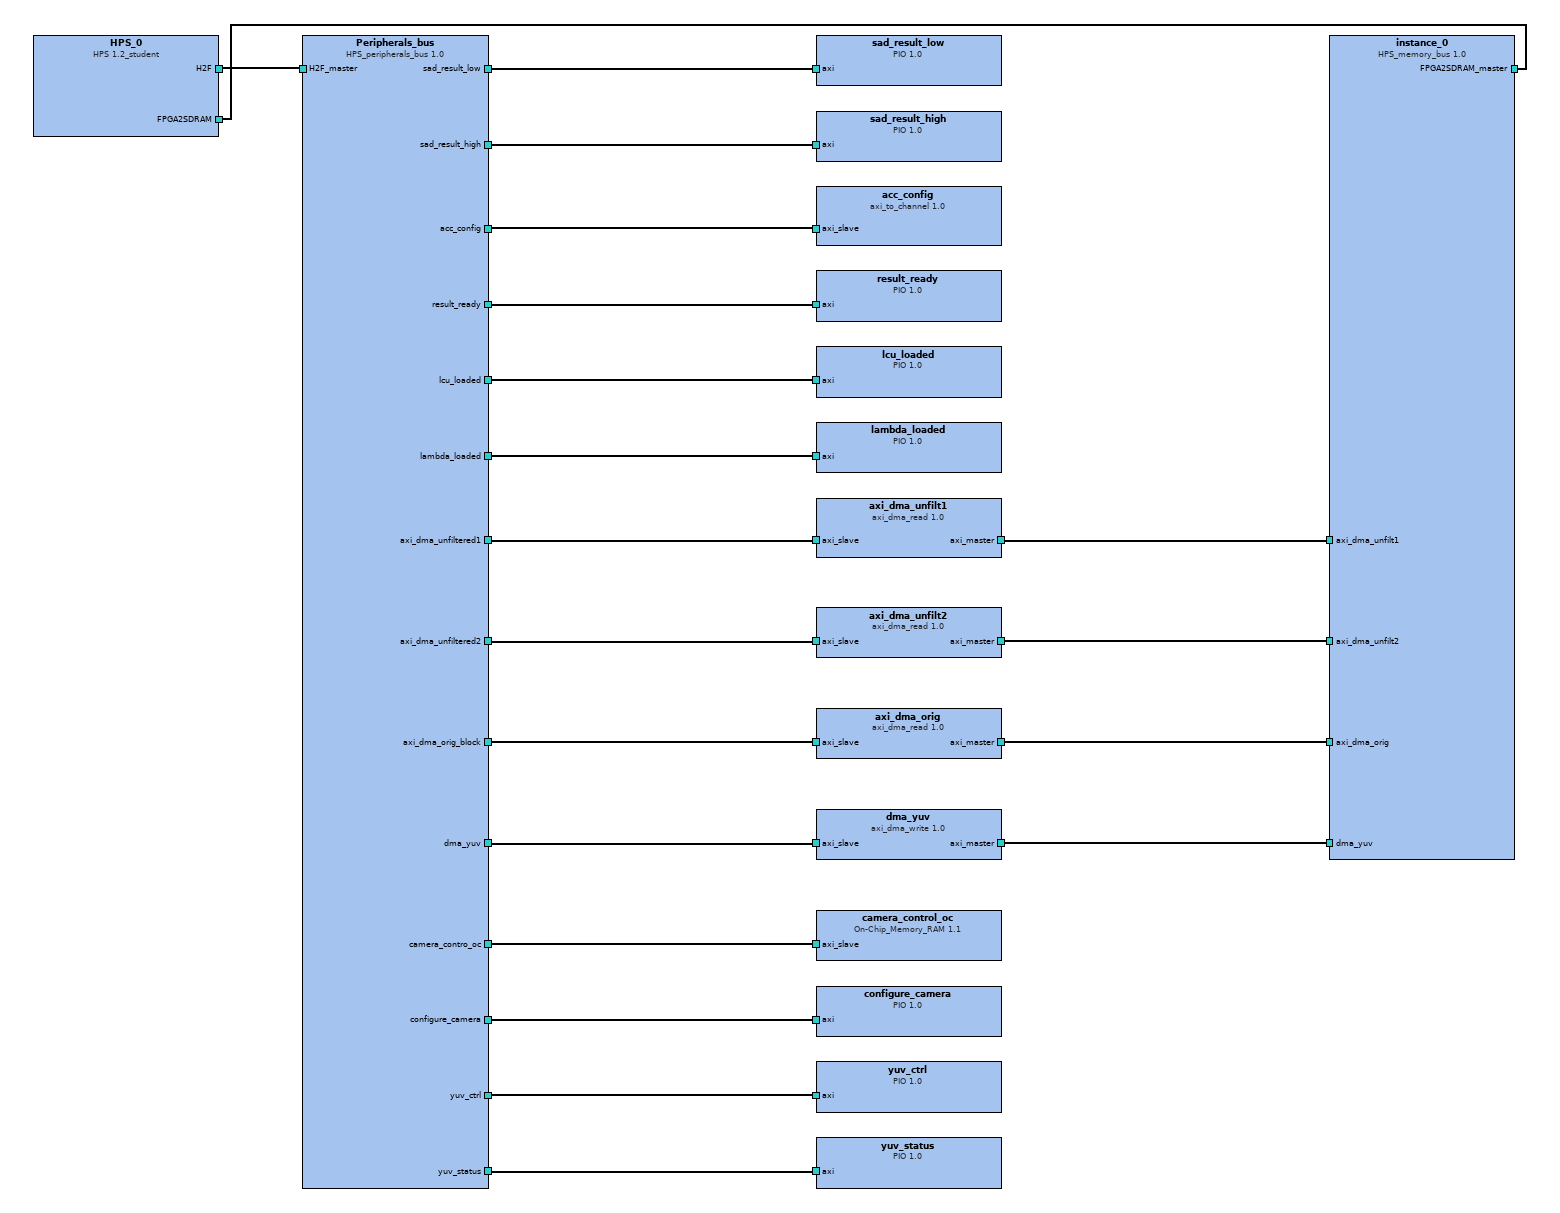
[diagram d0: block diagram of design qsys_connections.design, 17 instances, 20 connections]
<?xml version="1.0" encoding="UTF-8"?>
<ipxact:design xmlns:xsi="http://www.w3.org/2001/XMLSchema-instance" xmlns:ipxact="http://www.accellera.org/XMLSchema/IPXACT/1685-2014" xmlns:kactus2="http://kactus2.cs.tut.fi" xsi:schemaLocation="http://www.accellera.org/XMLSchema/IPXACT/1685-2014 http://www.accellera.org/XMLSchema/IPXACT/1685-2014/index.xsd"><ipxact:vendor>TUNI.fi</ipxact:vendor><ipxact:library>ip.hw</ipxact:library><ipxact:name>qsys_connections.design</ipxact:name>
 <ipxact:version>1.0_student</ipxact:version><ipxact:componentInstances>
 <ipxact:componentInstance><ipxact:instanceName>sad_result_low</ipxact:instanceName><ipxact:componentRef vendor="TUNI.fi" library="ip.hwp.com" name="PIO" version="1.0"/></ipxact:componentInstance>
 <ipxact:componentInstance><ipxact:instanceName>sad_result_high</ipxact:instanceName><ipxact:componentRef vendor="TUNI.fi" library="ip.hwp.com" name="PIO" version="1.0"/></ipxact:componentInstance>
 <ipxact:componentInstance><ipxact:instanceName>acc_config</ipxact:instanceName><ipxact:componentRef vendor="TUNI.fi" library="ip.hwp.mem" name="axi_to_channel" version="1.0"/></ipxact:componentInstance>
 <ipxact:componentInstance><ipxact:instanceName>result_ready</ipxact:instanceName><ipxact:componentRef vendor="TUNI.fi" library="ip.hwp.com" name="PIO" version="1.0"/></ipxact:componentInstance>
 <ipxact:componentInstance><ipxact:instanceName>lcu_loaded</ipxact:instanceName><ipxact:componentRef vendor="TUNI.fi" library="ip.hwp.com" name="PIO" version="1.0"/></ipxact:componentInstance>
 <ipxact:componentInstance><ipxact:instanceName>lambda_loaded</ipxact:instanceName><ipxact:componentRef vendor="TUNI.fi" library="ip.hwp.com" name="PIO" version="1.0"/></ipxact:componentInstance>
 <ipxact:componentInstance><ipxact:instanceName>axi_dma_unfilt1</ipxact:instanceName><ipxact:componentRef vendor="TUNI.fi" library="ip.hwp.mem" name="axi_dma_read" version="1.0"/></ipxact:componentInstance>
 <ipxact:componentInstance><ipxact:instanceName>dma_yuv</ipxact:instanceName><ipxact:componentRef vendor="TUNI.fi" library="ip.hwp.mem" name="axi_dma_write" version="1.0"/></ipxact:componentInstance>
 <ipxact:componentInstance><ipxact:instanceName>axi_dma_unfilt2</ipxact:instanceName><ipxact:componentRef vendor="TUNI.fi" library="ip.hwp.mem" name="axi_dma_read" version="1.0"/></ipxact:componentInstance>
 <ipxact:componentInstance><ipxact:instanceName>axi_dma_orig</ipxact:instanceName><ipxact:componentRef vendor="TUNI.fi" library="ip.hwp.mem" name="axi_dma_read" version="1.0"/></ipxact:componentInstance>
 <ipxact:componentInstance><ipxact:instanceName>configure_camera</ipxact:instanceName><ipxact:componentRef vendor="TUNI.fi" library="ip.hwp.com" name="PIO" version="1.0"/></ipxact:componentInstance>
 <ipxact:componentInstance><ipxact:instanceName>yuv_ctrl</ipxact:instanceName><ipxact:componentRef vendor="TUNI.fi" library="ip.hwp.com" name="PIO" version="1.0"/></ipxact:componentInstance>
 <ipxact:componentInstance><ipxact:instanceName>HPS_0</ipxact:instanceName><ipxact:componentRef vendor="TUNI.fi" library="soc" name="HPS" version="1.2_student"/></ipxact:componentInstance>
 <ipxact:componentInstance><ipxact:instanceName>camera_control_oc</ipxact:instanceName><ipxact:componentRef vendor="TUNI.fi" library="ip.hwp.mem" name="On-Chip_Memory_RAM" version="1.1"/></ipxact:componentInstance>
 <ipxact:componentInstance><ipxact:instanceName>Peripherals_bus</ipxact:instanceName><ipxact:componentRef vendor="TUNI.fi" library="ip.hwp.com" name="HPS_peripherals_bus" version="1.0"/></ipxact:componentInstance>
 <ipxact:componentInstance><ipxact:instanceName>instance_0</ipxact:instanceName><ipxact:componentRef vendor="TUNI.fi" library="ip.hwp.com" name="HPS_memory_bus" version="1.0"/></ipxact:componentInstance>
 <ipxact:componentInstance><ipxact:instanceName>yuv_status</ipxact:instanceName><ipxact:componentRef vendor="TUNI.fi" library="ip.hwp.com" name="PIO" version="1.0"/></ipxact:componentInstance>
</ipxact:componentInstances><ipxact:interconnections>
 <ipxact:interconnection><ipxact:name>Peripherals_bus_sad_result_low_to_sad_result_low_axi</ipxact:name><ipxact:activeInterface componentRef="Peripherals_bus" busRef="sad_result_low"/><ipxact:activeInterface componentRef="sad_result_low" busRef="axi"/></ipxact:interconnection>
 <ipxact:interconnection><ipxact:name>Peripherals_bus_H2F_master_to_HPS_0_H2F</ipxact:name><ipxact:activeInterface componentRef="Peripherals_bus" busRef="H2F_master"/><ipxact:activeInterface componentRef="HPS_0" busRef="H2F"/></ipxact:interconnection>
 <ipxact:interconnection><ipxact:name>Peripherals_bus_sad_result_high_to_sad_result_high_axi</ipxact:name><ipxact:activeInterface componentRef="Peripherals_bus" busRef="sad_result_high"/><ipxact:activeInterface componentRef="sad_result_high" busRef="axi"/></ipxact:interconnection>
 <ipxact:interconnection><ipxact:name>acc_config_axi_slave_to_Peripherals_bus_acc_config</ipxact:name><ipxact:activeInterface componentRef="acc_config" busRef="axi_slave"/><ipxact:activeInterface componentRef="Peripherals_bus" busRef="acc_config"/></ipxact:interconnection>
 <ipxact:interconnection><ipxact:name>Peripherals_bus_result_ready_to_result_ready_axi</ipxact:name><ipxact:activeInterface componentRef="Peripherals_bus" busRef="result_ready"/><ipxact:activeInterface componentRef="result_ready" busRef="axi"/></ipxact:interconnection>
 <ipxact:interconnection><ipxact:name>lcu_loaded_axi_to_Peripherals_bus_lcu_loaded</ipxact:name><ipxact:activeInterface componentRef="lcu_loaded" busRef="axi"/><ipxact:activeInterface componentRef="Peripherals_bus" busRef="lcu_loaded"/></ipxact:interconnection>
 <ipxact:interconnection><ipxact:name>Peripherals_bus_axi_dma_unfiltered2_to_axi_dma_unfilt2_axi_slave</ipxact:name><ipxact:activeInterface componentRef="Peripherals_bus" busRef="axi_dma_unfiltered2"/><ipxact:activeInterface componentRef="axi_dma_unfilt2" busRef="axi_slave"/></ipxact:interconnection>
 <ipxact:interconnection><ipxact:name>axi_dma_orig_axi_slave_to_Peripherals_bus_axi_dma_orig_block</ipxact:name><ipxact:activeInterface componentRef="axi_dma_orig" busRef="axi_slave"/><ipxact:activeInterface componentRef="Peripherals_bus" busRef="axi_dma_orig_block"/></ipxact:interconnection>
 <ipxact:interconnection><ipxact:name>Peripherals_bus_dma_yuv_to_dma_yuv_axi_slave</ipxact:name><ipxact:activeInterface componentRef="Peripherals_bus" busRef="dma_yuv"/><ipxact:activeInterface componentRef="dma_yuv" busRef="axi_slave"/></ipxact:interconnection>
 <ipxact:interconnection><ipxact:name>camera_control_oc_axi_slave_to_Peripherals_bus_camera_contro_oc</ipxact:name><ipxact:activeInterface componentRef="camera_control_oc" busRef="axi_slave"/><ipxact:activeInterface componentRef="Peripherals_bus" busRef="camera_contro_oc"/></ipxact:interconnection>
 <ipxact:interconnection><ipxact:name>Peripherals_bus_configure_camera_to_configure_camera_axi</ipxact:name><ipxact:activeInterface componentRef="Peripherals_bus" busRef="configure_camera"/><ipxact:activeInterface componentRef="configure_camera" busRef="axi"/></ipxact:interconnection>
 <ipxact:interconnection><ipxact:name>axi_dma_unfilt1_axi_master_to_instance_0_axi_dma_unfilt1</ipxact:name><ipxact:activeInterface componentRef="axi_dma_unfilt1" busRef="axi_master"/><ipxact:activeInterface componentRef="instance_0" busRef="axi_dma_unfilt1"/></ipxact:interconnection>
 <ipxact:interconnection><ipxact:name>lambda_loaded_axi_to_Peripherals_bus_lambda_loaded</ipxact:name><ipxact:activeInterface componentRef="lambda_loaded" busRef="axi"/><ipxact:activeInterface componentRef="Peripherals_bus" busRef="lambda_loaded"/></ipxact:interconnection>
 <ipxact:interconnection><ipxact:name>Peripherals_bus_axi_dma_unfiltered1_to_axi_dma_unfilt1_axi_slave</ipxact:name><ipxact:activeInterface componentRef="Peripherals_bus" busRef="axi_dma_unfiltered1"/><ipxact:activeInterface componentRef="axi_dma_unfilt1" busRef="axi_slave"/></ipxact:interconnection>
 <ipxact:interconnection><ipxact:name>instance_0_axi_dma_unfilt2_to_axi_dma_unfilt2_axi_master</ipxact:name><ipxact:activeInterface componentRef="instance_0" busRef="axi_dma_unfilt2"/><ipxact:activeInterface componentRef="axi_dma_unfilt2" busRef="axi_master"/></ipxact:interconnection>
 <ipxact:interconnection><ipxact:name>instance_0_axi_dma_orig_to_axi_dma_orig_axi_master</ipxact:name><ipxact:activeInterface componentRef="instance_0" busRef="axi_dma_orig"/><ipxact:activeInterface componentRef="axi_dma_orig" busRef="axi_master"/></ipxact:interconnection>
 <ipxact:interconnection><ipxact:name>instance_0_dma_yuv_to_dma_yuv_axi_master</ipxact:name><ipxact:activeInterface componentRef="instance_0" busRef="dma_yuv"/><ipxact:activeInterface componentRef="dma_yuv" busRef="axi_master"/></ipxact:interconnection>
 <ipxact:interconnection><ipxact:name>instance_0_FPGA2SDRAM_master_to_HPS_0_FPGA2SDRAM</ipxact:name><ipxact:activeInterface componentRef="instance_0" busRef="FPGA2SDRAM_master"/><ipxact:activeInterface componentRef="HPS_0" busRef="FPGA2SDRAM"/></ipxact:interconnection>
 <ipxact:interconnection><ipxact:name>Peripherals_bus_yuv_status_to_yuv_status_axi</ipxact:name><ipxact:activeInterface componentRef="Peripherals_bus" busRef="yuv_status"/><ipxact:activeInterface componentRef="yuv_status" busRef="axi"/></ipxact:interconnection>
 <ipxact:interconnection><ipxact:name>yuv_ctrl_axi_to_Peripherals_bus_yuv_ctrl</ipxact:name><ipxact:activeInterface componentRef="yuv_ctrl" busRef="axi"/><ipxact:activeInterface componentRef="Peripherals_bus" busRef="yuv_ctrl"/></ipxact:interconnection>
</ipxact:interconnections></ipxact:design>
<!-- note: In QSYS: dma_yuv: should be connected to f2h_sdram_0_data axi_dma_unfilt2 & axi_dma_orig: should be connected to f2h_sdram_1_data axi_dma_unfilt1 should be connected to f2h_sdram_2_data -->
<!-- note: Export: - external_connection -->
<!-- note: Export: - channel_lz - channel_vx - channel_data - clear_fifo -->
<!-- note: Export: - yuv_input - fifo_clk -->
<!-- note: Export: - s2 -->
<!-- note: Export: - channel -->
<!-- note: IRQs: result_ready => 0 lcu_loaded => 1 lambda_loaded => 2 yuv_status => 5 -->

